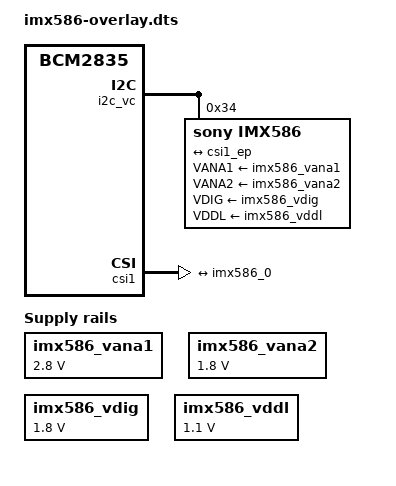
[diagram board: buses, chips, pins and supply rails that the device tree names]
// SPDX-License-Identifier: GPL-2.0-only
// Definitions for IMX586 camera module on VC I2C bus
/dts-v1/;
/plugin/;

#include <dt-bindings/gpio/gpio.h>

/{
	compatible = "brcm,bcm2835";

	fragment@0 {
		target = <&i2c_vc>;
		__overlay__ {
			#address-cells = <1>;
			#size-cells = <0>;
			status = "okay";

			imx586: imx586@10 {
				compatible = "sony,imx586";
				reg = <0x34>;
				reg2 = <0x20>;
				status = "okay";

				clocks = <&imx586_clk>;
				clock-names = "xclk";

				VANA1-supply = <&imx586_vana1>;	/* 2.8v */
				VANA2-supply = <&imx586_vana2>;	/* 1.8v */
				VDIG-supply = <&imx586_vdig>;	/* 1.8v */
				VDDL-supply = <&imx586_vddl>;	/* 1.1v */

				imx586_clk: camera-clk {
					compatible = "fixed-clock";
					#clock-cells = <0>;
					clock-frequency = <24000000>;
				};

				port {
					imx586_0: endpoint {
						remote-endpoint = <&csi1_ep>;
						clock-lanes = <0>;
						data-lanes = <1 2>;
						clock-noncontinuous;
						link-frequencies =
							/bits/ 64 <297000000>;
					};
				};
			};
		};
	};

	fragment@1 {
		target = <&csi1>;
		__overlay__ {
			status = "okay";

			port {
				csi1_ep: endpoint {
					remote-endpoint = <&imx586_0>;
				};
			};
		};
	};

	fragment@2 {
		target = <&i2c0_pins>;
		__dormant__ {
			brcm,pins = <28 29>;
			brcm,function = <4>; /* alt0 */
		};
	};
	fragment@3 {
		target = <&i2c0_pins>;
		__overlay__ {
			brcm,pins = <44 45>;
			brcm,function = <5>; /* alt1 */
		};
	};
	fragment@4 {
		target = <&i2c0_pins>;
		__dormant__ {
			brcm,pins = <0 1>;
			brcm,function = <4>; /* alt0 */
		};
	};
	fragment@5 {
		target = <&i2c_vc>;
		__overlay__ {
			status = "okay";
		};
	};

	fragment@6 {
		target-path="/";
		__overlay__ {
			imx586_vana1: fixedregulator@0 {
				compatible = "regulator-fixed";
				regulator-name = "imx586_vana1";
				regulator-min-microvolt = <2800000>;
				regulator-max-microvolt = <2800000>;
			};
			imx586_vana2: fixedregulator@1 {
				compatible = "regulator-fixed";
				regulator-name = "imx586_vana2";
				regulator-min-microvolt = <1800000>;
				regulator-max-microvolt = <1800000>;
			};
			imx586_vdig: fixedregulator@2 {
				compatible = "regulator-fixed";
				regulator-name = "imx586_vdig";
				regulator-min-microvolt = <1800000>;
				regulator-max-microvolt = <1800000>;
			};
			imx586_vddl: fixedregulator@3 {
				compatible = "regulator-fixed";
				regulator-name = "imx586_vddl";
				regulator-min-microvolt = <1100000>;
				regulator-max-microvolt = <1100000>;
			};
		};
	};

	fragment@7 {
		target-path="/__overrides__";
		__overlay__ {
			cam0-pwdn-ctrl = <&imx586_vana>,"gpio:0";
			cam0-pwdn      = <&imx586_vana>,"gpio:4";
		};
	};

	__overrides__ {
		i2c_pins_0_1 = <0>,"-2-3+4";
		i2c_pins_28_29 = <0>,"+2-3-4";
	};
};
